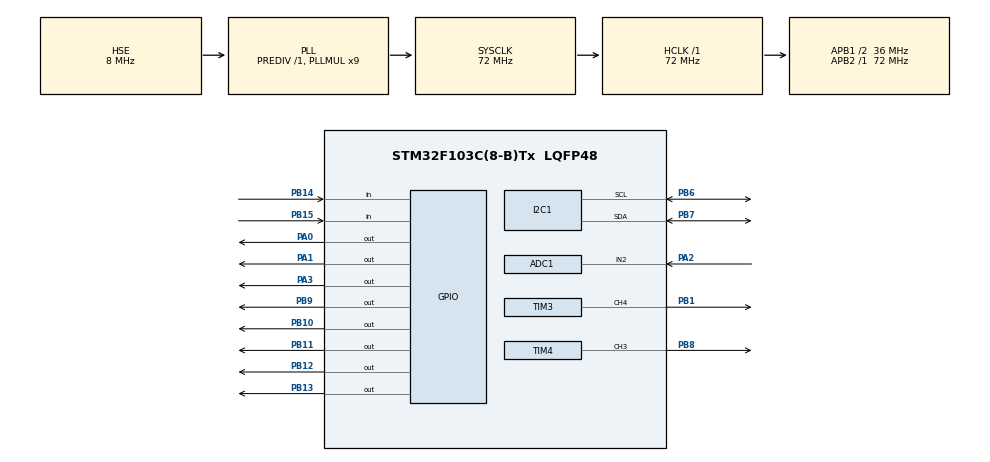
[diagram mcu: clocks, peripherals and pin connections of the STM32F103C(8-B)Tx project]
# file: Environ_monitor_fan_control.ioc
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ADC1.Channel-0\#ChannelRegularConversion=ADC_CHANNEL_2
ADC1.NbrOfConversionFlag=1
ADC1.Rank-0\#ChannelRegularConversion=1
ADC1.SamplingTime-0\#ChannelRegularConversion=ADC_SAMPLETIME_55CYCLES_5
ADC1.master=1
Mcu.Family=STM32F1
Mcu.Name=STM32F103C(8-B)Tx
Mcu.Package=LQFP48
NVIC.PriorityGroup=NVIC_PRIORITYGROUP_4
NVIC.TIM2_IRQn=true\:0\:0\:false\:false\:true\:true\:true\:true
PA0-WKUP.GPIO_PuPd=GPIO_PULLUP
PA0-WKUP.Signal=GPIO_Output
PA1.GPIO_PuPd=GPIO_PULLDOWN
PA1.Signal=GPIO_Output
PA13.Mode=Serial_Wire
PA13.Signal=SYS_JTMS-SWDIO
PA14.Mode=Serial_Wire
PA14.Signal=SYS_JTCK-SWCLK
PA2.Signal=ADCx_IN2
PA3.Signal=GPIO_Output
PB1.Signal=S_TIM3_CH4
PB10.GPIO_PuPd=GPIO_PULLUP
PB10.Signal=GPIO_Output
PB11.GPIO_PuPd=GPIO_PULLDOWN
PB11.Signal=GPIO_Output
PB12.Signal=GPIO_Output
PB13.Signal=GPIO_Output
PB14.Signal=GPIO_Input
PB15.Signal=GPIO_Input
PB6.Mode=I2C
PB6.Signal=I2C1_SCL
PB7.Mode=I2C
PB7.Signal=I2C1_SDA
PB8.Signal=S_TIM4_CH3
PB9.Signal=GPIO_Output
PD0-OSC_IN.Mode=HSE-External-Oscillator
PD0-OSC_IN.Signal=RCC_OSC_IN
PD1-OSC_OUT.Mode=HSE-External-Oscillator
PD1-OSC_OUT.Signal=RCC_OSC_OUT
ProjectManager.HeapSize=0x200
ProjectManager.StackSize=0x400
ProjectManager.TargetToolchain=CMake
RCC.ADCPresc=RCC_ADCPCLK2_DIV6
RCC.AHBFreq_Value=72000000
RCC.APB1CLKDivider=RCC_HCLK_DIV2
RCC.APB1Freq_Value=36000000
RCC.APB1TimFreq_Value=72000000
RCC.APB2Freq_Value=72000000
RCC.APB2TimFreq_Value=72000000
RCC.HCLKFreq_Value=72000000
RCC.PLLMUL=RCC_PLL_MUL9
RCC.PLLSourceVirtual=RCC_PLLSOURCE_HSE
RCC.SYSCLKFreq_VALUE=72000000
RCC.SYSCLKSource=RCC_SYSCLKSOURCE_PLLCLK
RCC.USBFreq_Value=72000000
SH.ADCx_IN2.0=ADC1_IN2,IN2
SH.S_TIM3_CH4.0=TIM3_CH4,PWM Generation4 CH4
SH.S_TIM4_CH3.0=TIM4_CH3,PWM Generation3 CH3
TIM2.Period=1000-1
TIM2.Prescaler=72-1
TIM3.AutoReloadPreload=TIM_AUTORELOAD_PRELOAD_ENABLE
TIM3.Channel-PWM\ Generation4\ CH4=TIM_CHANNEL_4
TIM3.Period=1000-1
TIM3.Prescaler=72-1
TIM4.AutoReloadPreload=TIM_AUTORELOAD_PRELOAD_ENABLE
TIM4.Channel-PWM\ Generation3\ CH3=TIM_CHANNEL_3
TIM4.Period=1000-1
TIM4.Prescaler=72-1
VP_TIM2_VS_ClockSourceINT.Mode=Internal
board=custom

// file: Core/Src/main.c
/* USER CODE BEGIN Header */
/**
  ******************************************************************************
  * @file           : main.c
  * @brief          : Main program body
  ******************************************************************************
  * @attention
  *
  * Copyright (c) 2026 STMicroelectronics.
  * All rights reserved.
  *
  * This software is licensed under terms that can be found in the LICENSE file
  * in the root directory of this software component.
  * If no LICENSE file comes with this software, it is provided AS-IS.
  *
  ******************************************************************************
  */
/* USER CODE END Header */
#include "main.h"
#include "adc.h"
#include "i2c.h"
#include "tim.h"
#include "gpio.h"

/* USER CODE BEGIN Includes */
#include "all.h"
/* USER CODE END Includes */

/* USER CODE BEGIN PD */
#define FAN_PWM_RUN_DUTY         500U
#define TEMP_THRESHOLD_DEFAULT   25U
#define TEMP_THRESHOLD_MIN       20U
#define TEMP_THRESHOLD_MAX       50U
#define DUST_THRESHOLD_DEFAULT   100U
#define DUST_THRESHOLD_MIN       50U
#define DUST_THRESHOLD_MAX       300U
#define DUST_THRESHOLD_STEP      10U
#define PM25_SAMPLE_COUNT        5U
#define PM25_VOLTAGE_SCALE       2.0f
#define PM25_MAX_DENSITY         500U
#define PM25_LED_ACTIVE_LEVEL    GPIO_PIN_RESET

/* USER CODE END PD */

/* USER CODE BEGIN PV */
typedef enum
{
  PAGE_MONITOR = 0,
  PAGE_TEMP_THRESHOLD,
  PAGE_DUST_THRESHOLD,
  PAGE_COUNT
} AppPage_t;

typedef enum
{
  AIR_EXCELLENT = 0,
  AIR_GOOD,
  AIR_LIGHT,
  AIR_MODERATE,
  AIR_HEAVY
} AirQuality_t;

static AppPage_t current_page = PAGE_MONITOR;
static uint8_t temperature_threshold = TEMP_THRESHOLD_DEFAULT;
static uint16_t dust_threshold = DUST_THRESHOLD_DEFAULT;
static uint16_t dust_density = 0;
static uint16_t dust_adc_raw = 0;
static uint8_t fan_enabled = 0;
static AirQuality_t air_quality = AIR_EXCELLENT;

/* USER CODE END PV */

void SystemClock_Config(void);
/* USER CODE BEGIN PFP */
static void APP_Init(void);
static void APP_ProcessSensors(void);
static void APP_ProcessKeys(void);
static void APP_UpdateOutputs(void);
static void APP_UpdateDisplay(void);
static uint16_t PM25_ReadADC(void);
static uint16_t PM25_ReadDensity(uint16_t *adc_raw);
static uint16_t PM25_ReadAverageDensity(uint8_t sample_count);
static const char *APP_GetAirQualityText(AirQuality_t quality);
static AirQuality_t APP_EvaluateAirQuality(uint16_t dust);
static void APP_SetStatusLed(uint8_t alarm_on);
static void PM25_SetLed(GPIO_PinState state);
static void PM25_LedOn(void);
static void PM25_LedOff(void);

/* USER CODE END PFP */

/* USER CODE BEGIN 0 */
static void APP_Init(void)
{
  HAL_TIM_Base_Start_IT(&htim2);
  HAL_TIM_PWM_Start(&htim3, TIM_CHANNEL_4);
  HAL_ADCEx_Calibration_Start(&hadc1);
  HAL_GPIO_WritePin(GPIOA, GPIO_PIN_0, GPIO_PIN_RESET);
  HAL_GPIO_WritePin(GPIOA, GPIO_PIN_1, GPIO_PIN_SET);
  PM25_LedOff();
  OLED_INITSHOW();
  APP_SetStatusLed(0);
}

static void APP_ProcessSensors(void)
{
  DHT11();

  if(f_300ms)
  {
    f_300ms = 0;
    dust_density = PM25_ReadAverageDensity(PM25_SAMPLE_COUNT);
    air_quality = APP_EvaluateAirQuality(dust_density);
  }
}

static void APP_ProcessKeys(void)
{
  uint8_t key_value = 0;

  if(Key_Data == 0)
  {
    return;
  }

  __disable_irq();
  key_value = Key_Data;
  Key_Data = 0;
  __enable_irq();

  if(key_value == 1U)
  {
    current_page = (AppPage_t)((current_page + 1U) % PAGE_COUNT);
  }
  else if(key_value == 2U)
  {
    if(current_page == PAGE_TEMP_THRESHOLD)
    {
      temperature_threshold++;
      if(temperature_threshold > TEMP_THRESHOLD_MAX)
      {
        temperature_threshold = TEMP_THRESHOLD_MIN;
      }
    }
    else if(current_page == PAGE_DUST_THRESHOLD)
    {
      dust_threshold += DUST_THRESHOLD_STEP;
      if(dust_threshold > DUST_THRESHOLD_MAX)
      {
        dust_threshold = DUST_THRESHOLD_MIN;
      }
    }
  }
}

static void APP_UpdateOutputs(void)
{
  uint8_t over_temp = (data[2] >= temperature_threshold) ? 1U : 0U;
  uint8_t over_dust = (dust_density >= dust_threshold) ? 1U : 0U;

  fan_enabled = (over_temp || over_dust) ? 1U : 0U;
  fan_pwm_target = fan_enabled ? FAN_PWM_RUN_DUTY : 0U;
  APP_SetStatusLed(fan_enabled);
}

static void APP_UpdateDisplay(void)
{
  static uint32_t last_refresh_tick = 0;
  static AppPage_t last_page = PAGE_COUNT;
  uint32_t current_tick = HAL_GetTick();

  if(current_page != last_page)
  {
    OLED_ClearScreen();
    last_page = current_page;
  }

  if((current_tick - last_refresh_tick) < 200U)
  {
    return;
  }

  last_refresh_tick = current_tick;

  if(current_page == PAGE_MONITOR)
  {
    OLED_ShowMonitorPage(data[2], data[0], dust_density, dust_adc_raw,
                         APP_GetAirQualityText(air_quality), fan_enabled);
  }
  else if(current_page == PAGE_TEMP_THRESHOLD)
  {
    OLED_ShowTempSettingPage(temperature_threshold);
  }
  else
  {
    OLED_ShowDustSettingPage(dust_threshold);
  }
}

static uint16_t PM25_ReadADC(void)
{
  HAL_ADC_Start(&hadc1);
  HAL_ADC_PollForConversion(&hadc1, 10);
  {
    uint16_t adc_value = (uint16_t)HAL_ADC_GetValue(&hadc1);
    HAL_ADC_Stop(&hadc1);
    return adc_value;
  }
}

static uint16_t PM25_ReadDensity(uint16_t *adc_raw)
{
  uint16_t adc_value = 0;
  float voltage = 0.0f;
  float density = 0.0f;

  PM25_LedOn();
  Coarse_delay_us(280U);
  adc_value = PM25_ReadADC();
  if(adc_raw != NULL)
  {
    *adc_raw = adc_value;
  }
  Coarse_delay_us(19U);
  PM25_LedOff();
  Coarse_delay_us(9680U);

  voltage = (3.3f * (float)adc_value / 4095.0f) * PM25_VOLTAGE_SCALE;
  density = (0.17f * voltage - 0.1f) * 1000.0f;

  if(density < 0.0f)
  {
    density = 0.0f;
  }
  else if(density > (float)PM25_MAX_DENSITY)
  {
    density = (float)PM25_MAX_DENSITY;
  }

  return (uint16_t)(density + 0.5f);
}

static uint16_t PM25_ReadAverageDensity(uint8_t sample_count)
{
  uint32_t sum = 0;
  uint32_t adc_sum = 0;
  uint8_t i = 0;
  uint16_t adc_value = 0;

  if(sample_count == 0U)
  {
    return 0;
  }

  for(i = 0; i < sample_count; i++)
  {
    sum += PM25_ReadDensity(&adc_value);
    adc_sum += adc_value;
  }

  dust_adc_raw = (uint16_t)(adc_sum / sample_count);
  return (uint16_t)(sum / sample_count);
}

static const char *APP_GetAirQualityText(AirQuality_t quality)
{
  switch(quality)
  {
    case AIR_EXCELLENT:
      return "EXCEL";
    case AIR_GOOD:
      return "GOOD";
    case AIR_LIGHT:
      return "LIGHT";
    case AIR_MODERATE:
      return "MID";
    case AIR_HEAVY:
    default:
      return "HEAVY";
  }
}

static AirQuality_t APP_EvaluateAirQuality(uint16_t dust)
{
  if(dust <= 35U)
  {
    return AIR_EXCELLENT;
  }

  if(dust <= 75U)
  {
    return AIR_GOOD;
  }

  if(dust <= 115U)
  {
    return AIR_LIGHT;
  }

  if(dust <= 150U)
  {
    return AIR_MODERATE;
  }

  return AIR_HEAVY;
}

static void APP_SetStatusLed(uint8_t alarm_on)
{
  HAL_GPIO_WritePin(GPIOB, GPIO_PIN_12, alarm_on ? GPIO_PIN_RESET : GPIO_PIN_SET);
  HAL_GPIO_WritePin(GPIOB, GPIO_PIN_13, alarm_on ? GPIO_PIN_SET : GPIO_PIN_RESET);
}

static void PM25_SetLed(GPIO_PinState state)
{
  HAL_GPIO_WritePin(GPIOA, GPIO_PIN_3, state);
}

static void PM25_LedOn(void)
{
  PM25_SetLed(PM25_LED_ACTIVE_LEVEL);
}

static void PM25_LedOff(void)
{
  PM25_SetLed(PM25_LED_ACTIVE_LEVEL == GPIO_PIN_SET ? GPIO_PIN_RESET : GPIO_PIN_SET);
}

/* USER CODE END 0 */

int main(void)
{

  /* MCU Configuration--------------------------------------------------------*/

  /* Reset of all peripherals, Initializes the Flash interface and the Systick. */
  HAL_Init();

  /* Configure the system clock */
  SystemClock_Config();

  /* Initialize all configured peripherals */
  MX_GPIO_Init();
  MX_ADC1_Init();
  MX_I2C1_Init();
  MX_TIM2_Init();
  MX_TIM3_Init();
  MX_TIM4_Init();
  /* USER CODE BEGIN 2 */
  APP_Init();
  /* USER CODE END 2 */

  /* Infinite loop */
  /* USER CODE BEGIN WHILE */
  while (1)
  {
    APP_ProcessSensors();
    APP_ProcessKeys();
    APP_UpdateOutputs();
    APP_UpdateDisplay();
    /* USER CODE END WHILE */

  }
}

void SystemClock_Config(void)
{
  RCC_OscInitTypeDef RCC_OscInitStruct = {0};
  RCC_ClkInitTypeDef RCC_ClkInitStruct = {0};
  RCC_PeriphCLKInitTypeDef PeriphClkInit = {0};

  /** Initializes the RCC Oscillators according to the specified parameters
  * in the RCC_OscInitTypeDef structure.
  */
  RCC_OscInitStruct.OscillatorType = RCC_OSCILLATORTYPE_HSE;
  RCC_OscInitStruct.HSEState = RCC_HSE_ON;
  RCC_OscInitStruct.HSEPredivValue = RCC_HSE_PREDIV_DIV1;
  RCC_OscInitStruct.HSIState = RCC_HSI_ON;
  RCC_OscInitStruct.PLL.PLLState = RCC_PLL_ON;
  RCC_OscInitStruct.PLL.PLLSource = RCC_PLLSOURCE_HSE;
  RCC_OscInitStruct.PLL.PLLMUL = RCC_PLL_MUL9;
  if (HAL_RCC_OscConfig(&RCC_OscInitStruct) != HAL_OK)
  {
    Error_Handler();
  }

  /** Initializes the CPU, AHB and APB buses clocks
  */
  RCC_ClkInitStruct.ClockType = RCC_CLOCKTYPE_HCLK|RCC_CLOCKTYPE_SYSCLK
                              |RCC_CLOCKTYPE_PCLK1|RCC_CLOCKTYPE_PCLK2;
  RCC_ClkInitStruct.SYSCLKSource = RCC_SYSCLKSOURCE_PLLCLK;
  RCC_ClkInitStruct.AHBCLKDivider = RCC_SYSCLK_DIV1;
  RCC_ClkInitStruct.APB1CLKDivider = RCC_HCLK_DIV2;
  RCC_ClkInitStruct.APB2CLKDivider = RCC_HCLK_DIV1;

  if (HAL_RCC_ClockConfig(&RCC_ClkInitStruct, FLASH_LATENCY_2) != HAL_OK)
  {
    Error_Handler();
  }
  PeriphClkInit.PeriphClockSelection = RCC_PERIPHCLK_ADC;
  PeriphClkInit.AdcClockSelection = RCC_ADCPCLK2_DIV6;
  if (HAL_RCCEx_PeriphCLKConfig(&PeriphClkInit) != HAL_OK)
  {
    Error_Handler();
  }
}

void Error_Handler(void)
{
  __disable_irq();
  while (1)
  {
  }
}
